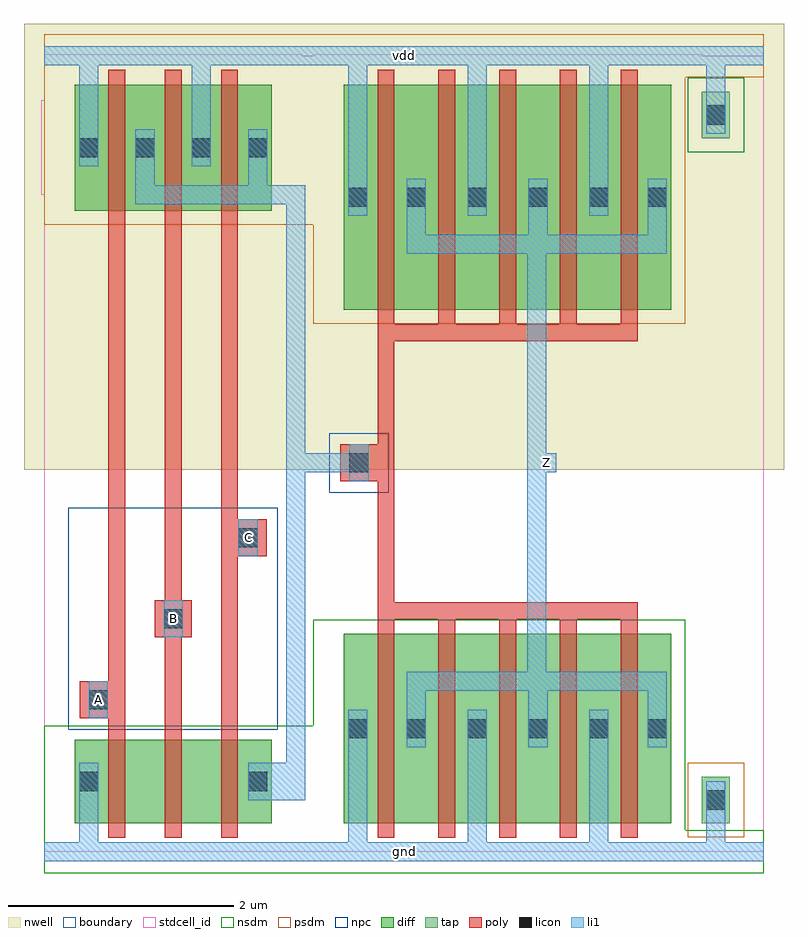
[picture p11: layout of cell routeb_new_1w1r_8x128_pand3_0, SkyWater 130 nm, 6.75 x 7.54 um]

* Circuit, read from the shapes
.subckt routeb_new_1w1r_8x128_pand3_0 A B C Z gnd vdd
XM1 routeb_new_1w1r_8x128_pnand3_0/routeb_new_1w1r_8x128_nmos_m1_w0_740_sli_dactive_3/D A gnd gnd sky130_fd_pr__nfet_01v8 w=0.74 l=0.15
XM2 routeb_new_1w1r_8x128_pnand3_0/routeb_new_1w1r_8x128_nmos_m1_w0_740_sactive_dactive_4/D B routeb_new_1w1r_8x128_pnand3_0/routeb_new_1w1r_8x128_nmos_m1_w0_740_sli_dactive_3/D gnd sky130_fd_pr__nfet_01v8 w=0.74 l=0.15
XM3 routeb_new_1w1r_8x128_pdriver_3_1/A C routeb_new_1w1r_8x128_pnand3_0/routeb_new_1w1r_8x128_nmos_m1_w0_740_sactive_dactive_4/D gnd sky130_fd_pr__nfet_01v8 w=0.74 l=0.15
XM4 Z routeb_new_1w1r_8x128_pdriver_3_1/A gnd gnd sky130_fd_pr__nfet_01v8 w=1.68 l=0.15 m=5
XM5 routeb_new_1w1r_8x128_pdriver_3_1/A A vdd vdd sky130_fd_pr__pfet_01v8 w=1.12 l=0.15
XM6 vdd B routeb_new_1w1r_8x128_pdriver_3_1/A vdd sky130_fd_pr__pfet_01v8 w=1.12 l=0.15
XM7 routeb_new_1w1r_8x128_pdriver_3_1/A C vdd vdd sky130_fd_pr__pfet_01v8 w=1.12 l=0.15
XM8 Z routeb_new_1w1r_8x128_pdriver_3_1/A vdd vdd sky130_fd_pr__pfet_01v8 w=2 l=0.15 m=5
.ends

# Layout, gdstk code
import gdstk
lib = gdstk.Library(unit=1e-6, precision=1e-09)
def R(c, l, rs):  # rectangles x0, y0, x1, y1
    for r in rs: c.add(gdstk.rectangle(r[:2], r[2:], *l))
def A(c, l, x, y, w, h, nx, ny, dx, dy):  # array of equal rectangles
    R(c, l, [(x+i*dx, y+j*dy, x+i*dx+w, y+j*dy+h) for i in range(nx) for j in range(ny)])
nwell = (64, 20)
diff = (65, 20)
tap = (65, 44)
poly = (66, 20)
licon = (66, 44)
li1 = (67, 20)
stdcell_id = (81, 4)
nsdm = (93, 44)
psdm = (94, 20)
npc = (95, 20)
boundary = (235, 4)

routeb_new_1w1r_8x128_co = lib.new_cell('routeb_new_1w1r_8x128_contact_11')
R(routeb_new_1w1r_8x128_co, nwell, [(-0.295,-0.255,0.545,0.585)])
R(routeb_new_1w1r_8x128_co, diff, [(0,0.02,0.25,0.31)])
R(routeb_new_1w1r_8x128_co, licon, [(0.04,0.08,0.21,0.25)])
R(routeb_new_1w1r_8x128_co, li1, [(0.04,0,0.21,0.33)])
R(routeb_new_1w1r_8x128_co, stdcell_id, [(-0.295,-0.255,0.545,0.585)])
R(routeb_new_1w1r_8x128_co, psdm, [(-0.125,-0.105,0.375,0.435)])
R(routeb_new_1w1r_8x128_co, boundary, [(-0.295,-0.255,0.545,0.585)])

routeb_new_1w1r_8x128_pm = lib.new_cell('routeb_new_1w1r_8x128_pmos_m1_w1_120_sli_dli')
R(routeb_new_1w1r_8x128_pm, nwell, [(-0.27,-0.27,1.02,1.39)])
R(routeb_new_1w1r_8x128_pm, diff, [(0,0,0.75,1.12)])
R(routeb_new_1w1r_8x128_pm, poly, [(0.3,-0.13,0.45,1.25), (0.3,-0.13,0.45,1.25)])
R(routeb_new_1w1r_8x128_pm, li1, [(0.04,0.395,0.21,0.725), (0.54,0.395,0.71,0.725)])
R(routeb_new_1w1r_8x128_pm, stdcell_id, [(-0.27,-0.27,1.02,1.39)])
R(routeb_new_1w1r_8x128_pm, psdm, [(-0.125,-0.125,0.875,1.245)])
R(routeb_new_1w1r_8x128_pm, boundary, [(-0.27,-0.27,1.02,1.39)])
routeb_new_1w1r_8x128_pm.add(gdstk.Reference(routeb_new_1w1r_8x128_co, (0,0.395)))
routeb_new_1w1r_8x128_pm.add(gdstk.Reference(routeb_new_1w1r_8x128_co, (0.5,0.395)))
routeb_new_1w1r_8x128_pm.add(gdstk.Label('G', (0.375,0.56), layer=66, texttype=5))
routeb_new_1w1r_8x128_pm.add(gdstk.Label('S', (0.125,0.56), layer=67, texttype=5))
routeb_new_1w1r_8x128_pm.add(gdstk.Label('D', (0.625,0.56), layer=67, texttype=5))

c_routeb_new_1w1r_8x128_co = lib.new_cell('routeb_new_1w1r_8x128_contact_10')
R(c_routeb_new_1w1r_8x128_co, diff, [(0,0.02,0.25,0.31)])
R(c_routeb_new_1w1r_8x128_co, licon, [(0.04,0.08,0.21,0.25)])
R(c_routeb_new_1w1r_8x128_co, li1, [(0.04,0,0.21,0.33)])
R(c_routeb_new_1w1r_8x128_co, stdcell_id, [(-0.125,-0.105,0.375,0.435)])
R(c_routeb_new_1w1r_8x128_co, nsdm, [(-0.125,-0.105,0.375,0.435)])
R(c_routeb_new_1w1r_8x128_co, boundary, [(-0.125,-0.105,0.375,0.435)])

routeb_new_1w1r_8x128_nm = lib.new_cell('routeb_new_1w1r_8x128_nmos_m1_w0_740_sli_dactive')
R(routeb_new_1w1r_8x128_nm, diff, [(0,0,0.75,0.74), (0.55,0.295,0.7,0.445)])
R(routeb_new_1w1r_8x128_nm, poly, [(0.3,-0.13,0.45,0.87), (0.3,-0.13,0.45,0.87)])
R(routeb_new_1w1r_8x128_nm, li1, [(0.04,0.205,0.21,0.535)])
R(routeb_new_1w1r_8x128_nm, stdcell_id, [(-0.125,-0.13,0.875,0.87)])
R(routeb_new_1w1r_8x128_nm, nsdm, [(-0.125,-0.125,0.875,0.865)])
R(routeb_new_1w1r_8x128_nm, boundary, [(-0.125,-0.13,0.875,0.87)])
routeb_new_1w1r_8x128_nm.add(gdstk.Reference(c_routeb_new_1w1r_8x128_co, (0,0.205)))
routeb_new_1w1r_8x128_nm.add(gdstk.Label('G', (0.375,0.37), layer=66, texttype=5))
routeb_new_1w1r_8x128_nm.add(gdstk.Label('S', (0.125,0.37), layer=67, texttype=5))
routeb_new_1w1r_8x128_nm.add(gdstk.Label('D', (0.625,0.37), layer=65, texttype=5))

c_routeb_new_1w1r_8x128_nm = lib.new_cell('routeb_new_1w1r_8x128_nmos_m1_w0_740_sactive_dactive')
R(c_routeb_new_1w1r_8x128_nm, diff, [(0,0,0.75,0.74), (0.05,0.295,0.2,0.445), (0.55,0.295,0.7,0.445)])
R(c_routeb_new_1w1r_8x128_nm, poly, [(0.3,-0.13,0.45,0.87), (0.3,-0.13,0.45,0.87)])
R(c_routeb_new_1w1r_8x128_nm, stdcell_id, [(-0.125,-0.13,0.875,0.87)])
R(c_routeb_new_1w1r_8x128_nm, nsdm, [(-0.125,-0.125,0.875,0.865)])
R(c_routeb_new_1w1r_8x128_nm, boundary, [(-0.125,-0.13,0.875,0.87)])
c_routeb_new_1w1r_8x128_nm.add(gdstk.Label('G', (0.375,0.37), layer=66, texttype=5))
c_routeb_new_1w1r_8x128_nm.add(gdstk.Label('S', (0.125,0.37), layer=65, texttype=5))
c_routeb_new_1w1r_8x128_nm.add(gdstk.Label('D', (0.625,0.37), layer=65, texttype=5))

c_routeb_new_1w1r_8x128_nm_ = lib.new_cell('routeb_new_1w1r_8x128_nmos_m1_w0_740_sactive_dli')
R(c_routeb_new_1w1r_8x128_nm_, diff, [(0,0,0.75,0.74), (0.05,0.295,0.2,0.445)])
R(c_routeb_new_1w1r_8x128_nm_, poly, [(0.3,-0.13,0.45,0.87), (0.3,-0.13,0.45,0.87)])
R(c_routeb_new_1w1r_8x128_nm_, li1, [(0.54,0.205,0.71,0.535)])
R(c_routeb_new_1w1r_8x128_nm_, stdcell_id, [(-0.125,-0.13,0.875,0.87)])
R(c_routeb_new_1w1r_8x128_nm_, nsdm, [(-0.125,-0.125,0.875,0.865)])
R(c_routeb_new_1w1r_8x128_nm_, boundary, [(-0.125,-0.13,0.875,0.87)])
c_routeb_new_1w1r_8x128_nm_.add(gdstk.Reference(c_routeb_new_1w1r_8x128_co, (0.5,0.205)))
c_routeb_new_1w1r_8x128_nm_.add(gdstk.Label('G', (0.375,0.37), layer=66, texttype=5))
c_routeb_new_1w1r_8x128_nm_.add(gdstk.Label('S', (0.125,0.37), layer=65, texttype=5))
c_routeb_new_1w1r_8x128_nm_.add(gdstk.Label('D', (0.625,0.37), layer=67, texttype=5))

c_routeb_new_1w1r_8x128_co_ = lib.new_cell('routeb_new_1w1r_8x128_contact_15')
R(c_routeb_new_1w1r_8x128_co_, poly, [(0,0,0.33,0.33)])
R(c_routeb_new_1w1r_8x128_co_, licon, [(0.08,0.08,0.25,0.25)])
R(c_routeb_new_1w1r_8x128_co_, li1, [(0.08,0,0.25,0.33)])
R(c_routeb_new_1w1r_8x128_co_, stdcell_id, [(-0.1,-0.1,0.43,0.43)])
R(c_routeb_new_1w1r_8x128_co_, npc, [(-0.1,-0.1,0.43,0.43)])
R(c_routeb_new_1w1r_8x128_co_, boundary, [(-0.1,-0.1,0.43,0.43)])

routeb_new_1w1r_8x128_pn = lib.new_cell('routeb_new_1w1r_8x128_pnand3')
R(routeb_new_1w1r_8x128_pn, nwell, [(-0.18,3.395,2.57,7.355)])
A(routeb_new_1w1r_8x128_pn, poly, 0.57, 1.125, 0.15, 4.44, 3, 1, 0.5, 0)
R(routeb_new_1w1r_8x128_pn, poly, [(0.48,1.185,0.57,1.515), (1.07,1.905,1.145,2.235), (1.57,2.625,1.81,2.955)])
R(routeb_new_1w1r_8x128_pn, li1, [(0,-0.085,2.39,0.085), (0.31,-0.085,0.48,0.46), (1.895,0.46,2.235,0.79), (2.15,0.46,2.32,5.835), (0.395,1.185,0.565,1.515), (1.06,1.905,1.23,2.235), (1.725,2.625,1.895,2.955), (0.81,5.75,0.98,5.92), (0.895,5.75,2.235,5.92), (1.81,5.75,1.98,5.92), (1.895,5.75,2.235,5.92), (2.15,5.75,2.32,5.92), (0.81,5.835,0.98,6.255), (1.81,5.835,1.98,6.255), (0.31,6.09,0.48,7.155), (1.31,6.09,1.48,7.155), (0,6.985,2.39,7.155)])
R(routeb_new_1w1r_8x128_pn, stdcell_id, [(0,0,2.39,7.07), (0,0,2.39,7.07)])
R(routeb_new_1w1r_8x128_pn, nsdm, [(0,-0.19,2.39,0.19), (0,0,2.39,1.12)])
R(routeb_new_1w1r_8x128_pn, psdm, [(0,5.57,2.39,7.07), (0,6.88,2.39,7.26)])
R(routeb_new_1w1r_8x128_pn, npc, [(0.215,1.085,2.075,3.055)])
R(routeb_new_1w1r_8x128_pn, boundary, [(0,0,2.39,7.07), (0,0,2.39,7.07)])
routeb_new_1w1r_8x128_pn.add(gdstk.Reference(routeb_new_1w1r_8x128_pm, (0.27,5.695)))
routeb_new_1w1r_8x128_pn.add(gdstk.Reference(routeb_new_1w1r_8x128_pm, (0.77,5.695)))
routeb_new_1w1r_8x128_pn.add(gdstk.Reference(routeb_new_1w1r_8x128_pm, (1.27,5.695)))
routeb_new_1w1r_8x128_pn.add(gdstk.Reference(routeb_new_1w1r_8x128_nm, (0.27,0.255)))
routeb_new_1w1r_8x128_pn.add(gdstk.Reference(c_routeb_new_1w1r_8x128_nm, (0.77,0.255)))
routeb_new_1w1r_8x128_pn.add(gdstk.Reference(c_routeb_new_1w1r_8x128_nm_, (1.27,0.255)))
routeb_new_1w1r_8x128_pn.add(gdstk.Reference(c_routeb_new_1w1r_8x128_co_, (0.315,1.185)))
routeb_new_1w1r_8x128_pn.add(gdstk.Reference(c_routeb_new_1w1r_8x128_co_, (0.98,1.905)))
routeb_new_1w1r_8x128_pn.add(gdstk.Reference(c_routeb_new_1w1r_8x128_co_, (1.645,2.625)))
routeb_new_1w1r_8x128_pn.add(gdstk.Label('A', (0.48,1.35), layer=67, texttype=5))
routeb_new_1w1r_8x128_pn.add(gdstk.Label('B', (1.145,2.07), layer=67, texttype=5))
routeb_new_1w1r_8x128_pn.add(gdstk.Label('C', (1.81,2.79), layer=67, texttype=5))
routeb_new_1w1r_8x128_pn.add(gdstk.Label('Z', (2.235,5.835), layer=67, texttype=5))
routeb_new_1w1r_8x128_pn.add(gdstk.Label('gnd', (1.195,0), layer=67, texttype=5))
routeb_new_1w1r_8x128_pn.add(gdstk.Label('vdd', (1.195,7.07), layer=67, texttype=5))

c_routeb_new_1w1r_8x128_pm = lib.new_cell('routeb_new_1w1r_8x128_pmos_m5_w2_000_sli_dli_da_p')
R(c_routeb_new_1w1r_8x128_pm, nwell, [(-0.27,-0.27,3.18,2.27)])
R(c_routeb_new_1w1r_8x128_pm, diff, [(0,0,2.91,2)])
A(c_routeb_new_1w1r_8x128_pm, poly, 0.3, -0.13, 0.15, 2.26, 5, 1, 0.54, 0)
R(c_routeb_new_1w1r_8x128_pm, poly, [(0.3,-0.28,2.61,-0.13)])
R(c_routeb_new_1w1r_8x128_pm, li1, [(0.56,0.495,2.87,0.665), (0.56,0.58,0.73,1), (1.64,0.58,1.81,1), (2.7,0.58,2.87,1), (0.04,0.835,0.21,1.165), (1.1,0.835,1.27,1.165), (2.18,0.835,2.35,1.165)])
R(c_routeb_new_1w1r_8x128_pm, stdcell_id, [(-0.27,-0.28,3.18,2.27)])
R(c_routeb_new_1w1r_8x128_pm, psdm, [(-0.125,-0.125,3.035,2.125)])
R(c_routeb_new_1w1r_8x128_pm, boundary, [(-0.27,-0.28,3.18,2.27)])
c_routeb_new_1w1r_8x128_pm.add(gdstk.Reference(routeb_new_1w1r_8x128_co, (0,0.835)))
c_routeb_new_1w1r_8x128_pm.add(gdstk.Reference(routeb_new_1w1r_8x128_co, (0.52,0.835)))
c_routeb_new_1w1r_8x128_pm.add(gdstk.Reference(routeb_new_1w1r_8x128_co, (1.06,0.835)))
c_routeb_new_1w1r_8x128_pm.add(gdstk.Reference(routeb_new_1w1r_8x128_co, (1.6,0.835)))
c_routeb_new_1w1r_8x128_pm.add(gdstk.Reference(routeb_new_1w1r_8x128_co, (2.14,0.835)))
c_routeb_new_1w1r_8x128_pm.add(gdstk.Reference(routeb_new_1w1r_8x128_co, (2.66,0.835)))
c_routeb_new_1w1r_8x128_pm.add(gdstk.Label('G', (1.455,-0.205), layer=66, texttype=5))
c_routeb_new_1w1r_8x128_pm.add(gdstk.Label('S', (2.265,1), layer=67, texttype=5))
c_routeb_new_1w1r_8x128_pm.add(gdstk.Label('S', (0.125,1), layer=67, texttype=5))
c_routeb_new_1w1r_8x128_pm.add(gdstk.Label('S', (1.185,1), layer=67, texttype=5))
c_routeb_new_1w1r_8x128_pm.add(gdstk.Label('D', (1.715,0.58), layer=67, texttype=5))

c_routeb_new_1w1r_8x128_nm__ = lib.new_cell('routeb_new_1w1r_8x128_nmos_m5_w1_680_sli_dli_da_p')
R(c_routeb_new_1w1r_8x128_nm__, diff, [(0,0,2.91,1.68)])
A(c_routeb_new_1w1r_8x128_nm__, poly, 0.3, -0.13, 0.15, 1.94, 5, 1, 0.54, 0)
R(c_routeb_new_1w1r_8x128_nm__, poly, [(0.3,1.81,2.61,1.96)])
R(c_routeb_new_1w1r_8x128_nm__, li1, [(0.04,0.675,0.21,1.005), (1.1,0.675,1.27,1.005), (2.18,0.675,2.35,1.005), (0.56,0.84,0.73,1.26), (1.64,0.84,1.81,1.26), (2.7,0.84,2.87,1.26), (0.56,1.175,2.87,1.345)])
R(c_routeb_new_1w1r_8x128_nm__, stdcell_id, [(-0.125,-0.13,3.035,1.96)])
R(c_routeb_new_1w1r_8x128_nm__, nsdm, [(-0.125,-0.125,3.035,1.805)])
R(c_routeb_new_1w1r_8x128_nm__, boundary, [(-0.125,-0.13,3.035,1.96)])
c_routeb_new_1w1r_8x128_nm__.add(gdstk.Reference(c_routeb_new_1w1r_8x128_co, (0,0.675)))
c_routeb_new_1w1r_8x128_nm__.add(gdstk.Reference(c_routeb_new_1w1r_8x128_co, (0.52,0.675)))
c_routeb_new_1w1r_8x128_nm__.add(gdstk.Reference(c_routeb_new_1w1r_8x128_co, (1.06,0.675)))
c_routeb_new_1w1r_8x128_nm__.add(gdstk.Reference(c_routeb_new_1w1r_8x128_co, (1.6,0.675)))
c_routeb_new_1w1r_8x128_nm__.add(gdstk.Reference(c_routeb_new_1w1r_8x128_co, (2.14,0.675)))
c_routeb_new_1w1r_8x128_nm__.add(gdstk.Reference(c_routeb_new_1w1r_8x128_co, (2.66,0.675)))
c_routeb_new_1w1r_8x128_nm__.add(gdstk.Label('G', (1.455,1.885), layer=66, texttype=5))
c_routeb_new_1w1r_8x128_nm__.add(gdstk.Label('S', (0.125,0.84), layer=67, texttype=5))
c_routeb_new_1w1r_8x128_nm__.add(gdstk.Label('S', (2.265,0.84), layer=67, texttype=5))
c_routeb_new_1w1r_8x128_nm__.add(gdstk.Label('S', (1.185,0.84), layer=67, texttype=5))
c_routeb_new_1w1r_8x128_nm__.add(gdstk.Label('D', (1.715,1.26), layer=67, texttype=5))

c_routeb_new_1w1r_8x128_co__ = lib.new_cell('routeb_new_1w1r_8x128_contact_24')
R(c_routeb_new_1w1r_8x128_co__, nwell, [(-0.295,-0.215,0.545,0.625)])
R(c_routeb_new_1w1r_8x128_co__, tap, [(0,0,0.25,0.41)])
R(c_routeb_new_1w1r_8x128_co__, licon, [(0.04,0.12,0.21,0.29)])
R(c_routeb_new_1w1r_8x128_co__, li1, [(0.04,0.04,0.21,0.37)])
R(c_routeb_new_1w1r_8x128_co__, stdcell_id, [(-0.295,-0.215,0.545,0.625)])
R(c_routeb_new_1w1r_8x128_co__, nsdm, [(-0.125,-0.125,0.375,0.535)])
R(c_routeb_new_1w1r_8x128_co__, boundary, [(-0.295,-0.215,0.545,0.625)])

c_routeb_new_1w1r_8x128_co___ = lib.new_cell('routeb_new_1w1r_8x128_contact_25')
R(c_routeb_new_1w1r_8x128_co___, tap, [(0,0,0.25,0.41)])
R(c_routeb_new_1w1r_8x128_co___, licon, [(0.04,0.12,0.21,0.29)])
R(c_routeb_new_1w1r_8x128_co___, li1, [(0.04,0.04,0.21,0.37)])
R(c_routeb_new_1w1r_8x128_co___, stdcell_id, [(-0.125,-0.125,0.375,0.535)])
R(c_routeb_new_1w1r_8x128_co___, psdm, [(-0.125,-0.125,0.375,0.535)])
R(c_routeb_new_1w1r_8x128_co___, boundary, [(-0.125,-0.125,0.375,0.535)])

routeb_new_1w1r_8x128_pi = lib.new_cell('routeb_new_1w1r_8x128_pinv_10')
R(routeb_new_1w1r_8x128_pi, nwell, [(-0.18,3.395,4.18,7.355)])
R(routeb_new_1w1r_8x128_pi, poly, [(0.57,2.215,0.72,4.535), (0.405,3.29,0.57,3.62)])
R(routeb_new_1w1r_8x128_pi, li1, [(0,-0.085,4,0.085), (0.31,-0.085,0.48,0.93), (1.37,-0.085,1.54,0.93), (2.45,-0.085,2.62,0.93), (3.49,0,3.66,0.46), (1.9,1.43,2.07,5.48), (0.32,3.29,0.49,3.62), (1.985,3.37,2.155,3.54), (0.31,5.65,0.48,7.155), (1.37,5.65,1.54,7.155), (2.45,5.65,2.62,7.155), (3.49,6.545,3.66,7.07), (0,6.985,4,7.155)])
R(routeb_new_1w1r_8x128_pi, stdcell_id, [(0,0,4,7.07), (0,0,4,7.07)])
R(routeb_new_1w1r_8x128_pi, nsdm, [(0,-0.19,4,0.19), (0,0,3.305,2.06)])
R(routeb_new_1w1r_8x128_pi, psdm, [(0,4.69,3.305,7.07), (0,6.88,4,7.26)])
R(routeb_new_1w1r_8x128_pi, boundary, [(0,0,4,7.07), (0,0,4,7.07)])
routeb_new_1w1r_8x128_pi.add(gdstk.Reference(c_routeb_new_1w1r_8x128_pm, (0.27,4.815)))
routeb_new_1w1r_8x128_pi.add(gdstk.Reference(c_routeb_new_1w1r_8x128_nm__, (0.27,0.255)))
routeb_new_1w1r_8x128_pi.add(gdstk.Reference(c_routeb_new_1w1r_8x128_co__, (3.45,6.34)))
routeb_new_1w1r_8x128_pi.add(gdstk.Reference(c_routeb_new_1w1r_8x128_co___, (3.45,0.255)))
routeb_new_1w1r_8x128_pi.add(gdstk.Reference(c_routeb_new_1w1r_8x128_co_, (0.24,3.29)))
routeb_new_1w1r_8x128_pi.add(gdstk.Label('A', (0.405,3.455), layer=67, texttype=5))
routeb_new_1w1r_8x128_pi.add(gdstk.Label('Z', (2.07,3.455), layer=67, texttype=5))
routeb_new_1w1r_8x128_pi.add(gdstk.Label('gnd', (2,0), layer=67, texttype=5))
routeb_new_1w1r_8x128_pi.add(gdstk.Label('vdd', (2,7.07), layer=67, texttype=5))

routeb_new_1w1r_8x128_pd = lib.new_cell('routeb_new_1w1r_8x128_pdriver_3')
R(routeb_new_1w1r_8x128_pd, nwell, [(-0.18,3.395,4.18,7.355)])
R(routeb_new_1w1r_8x128_pd, li1, [(0,-0.085,4,0.085), (0.32,3.29,0.49,3.62), (1.985,3.37,2.155,3.54), (0,6.985,4,7.155)])
R(routeb_new_1w1r_8x128_pd, stdcell_id, [(0,0,4,7.07), (0,0,4,7.07)])
R(routeb_new_1w1r_8x128_pd, nsdm, [(0,-0.19,4,0.19)])
R(routeb_new_1w1r_8x128_pd, psdm, [(0,6.88,4,7.26)])
R(routeb_new_1w1r_8x128_pd, boundary, [(0,0,4,7.07), (0,0,4,7.07)])
routeb_new_1w1r_8x128_pd.add(gdstk.Reference(routeb_new_1w1r_8x128_pi, (0,0)))
routeb_new_1w1r_8x128_pd.add(gdstk.Label('Z', (2.07,3.455), layer=67, texttype=5))
routeb_new_1w1r_8x128_pd.add(gdstk.Label('A', (0.405,3.455), layer=67, texttype=5))
routeb_new_1w1r_8x128_pd.add(gdstk.Label('gnd', (2,0), layer=67, texttype=5))
routeb_new_1w1r_8x128_pd.add(gdstk.Label('vdd', (2,7.07), layer=67, texttype=5))

routeb_new_1w1r_8x128_pa = lib.new_cell('routeb_new_1w1r_8x128_pand3_0')
R(routeb_new_1w1r_8x128_pa, li1, [(0,-0.085,6.39,0.085), (0.395,1.185,0.565,1.515), (1.06,1.905,1.23,2.235), (1.725,2.625,1.895,2.955), (2.15,3.37,2.32,3.54), (2.235,3.37,2.795,3.54), (4.375,3.37,4.545,3.54), (2.15,3.455,2.32,5.835), (0,6.985,6.39,7.155)])
R(routeb_new_1w1r_8x128_pa, stdcell_id, [(0,0,6.39,7.07), (0,0,6.39,7.07)])
R(routeb_new_1w1r_8x128_pa, boundary, [(0,0,6.39,7.07), (0,0,6.39,7.07)])
routeb_new_1w1r_8x128_pa.add(gdstk.Reference(routeb_new_1w1r_8x128_pn, (0,0)))
routeb_new_1w1r_8x128_pa.add(gdstk.Reference(routeb_new_1w1r_8x128_pd, (2.39,0)))
routeb_new_1w1r_8x128_pa.add(gdstk.Label('Z', (4.46,3.455), layer=67, texttype=5))
routeb_new_1w1r_8x128_pa.add(gdstk.Label('A', (0.48,1.35), layer=67, texttype=5))
routeb_new_1w1r_8x128_pa.add(gdstk.Label('B', (1.145,2.07), layer=67, texttype=5))
routeb_new_1w1r_8x128_pa.add(gdstk.Label('C', (1.81,2.79), layer=67, texttype=5))
routeb_new_1w1r_8x128_pa.add(gdstk.Label('gnd', (3.195,0), layer=67, texttype=5))
routeb_new_1w1r_8x128_pa.add(gdstk.Label('vdd', (3.195,7.07), layer=67, texttype=5))

lib.write_gds('routeb_new_1w1r_8x128_pand3_0.gds')
